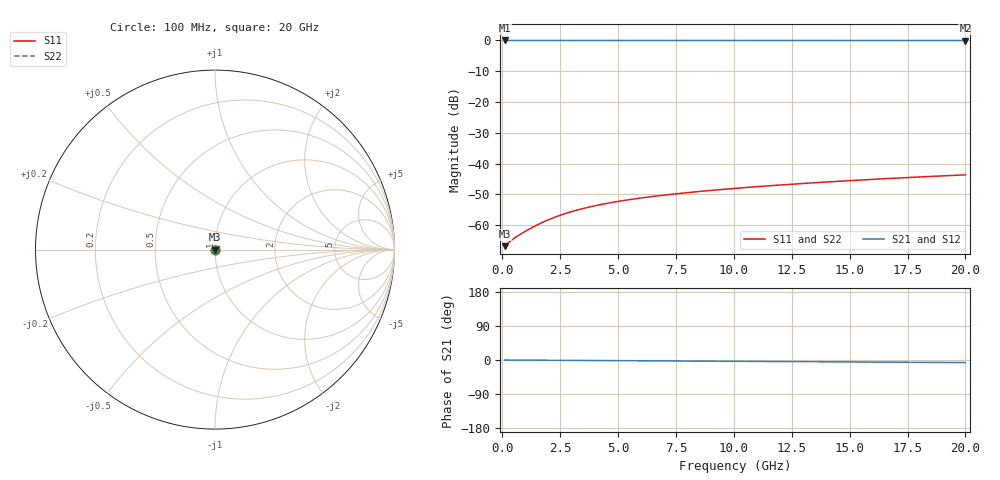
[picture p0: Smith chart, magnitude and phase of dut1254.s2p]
! Touchstone file exported from HFSS 2026.1.0
!  File:  C:/ffzhzh/LocalFiles/Ansys_Project_Files/temp_train_TSV_1254_1783193778_43440.aedt
!  Generated:  03:37:51 AM Jul  5, 2026
!  Design:  TSV
!  Project:  temp_train_TSV_1254_1783193778_43440
! Variables:
!  h_bsmrdl = 2um
!  h_ox = 20um
!  h_rdl = 5um
!  h_sub = 72.22um
!  h_tmrdl = 5um
!  h_tsv = 72.22um
!  h_via = 3um
!  l_bsmrdl = 300um
!  l_sub = 408.96um
!  l_tmrdl = 200um
!  m_sub = 200um
!  pitch = 19.61um
!  r_tsv = 4.48um
!  s_tmrdl = 10um
!  w_bsmrdl = 18um
!  w_sub = 500um
!  w_tmrdl = 12um
!  x_tsv_center1 = 206um
!  x_tsv_center2 = 524um
!  x_tsv_center3 = 736um
!  x_tsv_center4 = 1054um
!  x_tsv_center5 = 1266um
!  x_tsv_center6 = 1584um
# GHz S MA R 50.000000
! Terminal data exported
! Port[1] = TSV1_1_T1
! Port[2] = TSV1_1_T2
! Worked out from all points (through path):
!   200 points, 100 MHz to 20 GHz, reference 50 ohm
!   highest |S21| = 0.00 dB at 100 MHz (marker M1); lowest = 0.0 dB at 20 GHz (marker M2)
!   lowest |S11| = -66.8 dB at 100 MHz (marker M3), VSWR 1.00, Z = 50 + j0.00802 ohm
!   |S11| at or under -10 dB: start of sweep to end of sweep
!   |S22| runs from -66.8 to -43.7 dB; largest |S21 - S12| = 4.7e-15
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0.1  0.0004554 10.1  0.9996 -0.0  0.9996 -0.0  0.0004554 10.1
! Gamma 0 0 0 0
! Port Impedance 50 0 50 0
0.3  0.0005316 23.2  0.9995 -0.1  0.9995 -0.1  0.0005316 23.2
0.4  0.0005708 27.3  0.9995 -0.1  0.9995 -0.1  0.0005708 27.3
0.6  0.0006444 33.8  0.9995 -0.2  0.9995 -0.2  0.0006444 33.8
0.8  0.0007184 39.1  0.9994 -0.3  0.9994 -0.3  0.0007184 39.1
1.1  0.0008365 45.3  0.9994 -0.4  0.9994 -0.4  0.0008365 45.3
1.4  0.0009626 49.8  0.9994 -0.5  0.9994 -0.5  0.0009626 49.8
1.6  0.00105 52.1  0.9993 -0.6  0.9993 -0.6  0.00105 52.1
2  0.001227 55.3  0.9993 -0.7  0.9993 -0.7  0.001227 55.3
2.5  0.001447 57.8  0.9992 -0.9  0.9992 -0.9  0.001447 57.8
3  0.001661 59.1  0.9992 -1.0  0.9992 -1.0  0.001661 59.1
3.5  0.001867 59.9  0.9991 -1.2  0.9991 -1.2  0.001867 59.9
4.2  0.002139 60.5  0.999 -1.5  0.999 -1.5  0.002139 60.5
5  0.002429 60.8  0.9989 -1.7  0.9989 -1.7  0.002429 60.8
5.8  0.002699 61.0  0.9988 -2.0  0.9988 -2.0  0.002699 61.0
6.8  0.003016 61.1  0.9986 -2.3  0.9986 -2.3  0.003016 61.1
8.3  0.003461 61.4  0.9985 -2.8  0.9985 -2.8  0.003461 61.4
10.1  0.003969 61.8  0.9983 -3.5  0.9983 -3.5  0.003969 61.8
11.7  0.004406 62.2  0.9982 -4.0  0.9982 -4.0  0.004406 62.2
13.4  0.004862 62.4  0.9981 -4.6  0.9981 -4.6  0.004862 62.4
16.7  0.005726 62.5  0.9979 -5.7  0.9979 -5.7  0.005726 62.5
20  0.006559 62.3  0.9976 -6.8  0.9976 -6.8  0.006559 62.3
